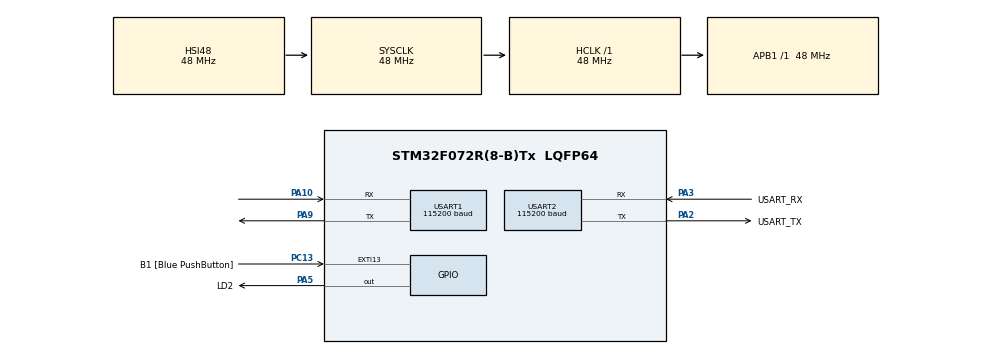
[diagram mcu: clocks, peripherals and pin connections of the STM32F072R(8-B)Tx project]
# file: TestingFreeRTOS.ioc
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FREERTOS.Tasks01=task_1,24,128,task_1_function,Default,NULL,Dynamic,NULL,NULL;task_2,17,128,task_2_function,Default,NULL,Dynamic,NULL,NULL;task_3,17,128,task_3_function,Default,NULL,Dynamic,NULL,NULL
Mcu.Family=STM32F0
Mcu.Name=STM32F072R(8-B)Tx
Mcu.Package=LQFP64
NVIC.TIM6_DAC_IRQn=true\:3\:0\:false\:false\:true\:false\:false\:true\:true
NVIC.TimeBase=TIM6_DAC_IRQn
NVIC.TimeBaseIP=TIM6
NVIC.USART1_IRQn=true\:3\:0\:false\:false\:true\:true\:true\:true\:true
NVIC.USART2_IRQn=true\:3\:0\:false\:false\:true\:true\:true\:true\:true
PA10.Mode=Asynchronous
PA10.Signal=USART1_RX
PA13.GPIO_Label=TMS
PA13.Mode=Serial_Wire
PA13.Signal=SYS_SWDIO
PA14.GPIO_Label=TCK
PA14.Mode=Serial_Wire
PA14.Signal=SYS_SWCLK
PA2.GPIO_Label=USART_TX
PA2.GPIO_Mode=GPIO_MODE_AF_PP
PA2.GPIO_PuPd=GPIO_NOPULL
PA2.GPIO_Speed=GPIO_SPEED_FREQ_LOW
PA2.Mode=Asynchronous
PA2.Signal=USART2_TX
PA3.GPIO_Label=USART_RX
PA3.GPIO_Mode=GPIO_MODE_AF_PP
PA3.GPIO_PuPd=GPIO_NOPULL
PA3.GPIO_Speed=GPIO_SPEED_FREQ_LOW
PA3.Mode=Asynchronous
PA3.Signal=USART2_RX
PA5.GPIO_Label=LD2
PA5.Signal=GPIO_Output
PA9.Mode=Asynchronous
PA9.Signal=USART1_TX
PC13.GPIO_Label=B1 [Blue PushButton]
PC13.GPIO_ModeDefaultEXTI=GPIO_MODE_IT_FALLING
PC13.Signal=GPXTI13
ProjectManager.HeapSize=0x200
ProjectManager.StackSize=0x400
ProjectManager.TargetToolchain=STM32CubeIDE
RCC.AHBFreq_Value=48000000
RCC.APB1Freq_Value=48000000
RCC.APB1TimFreq_Value=48000000
RCC.FLatency-AdvancedSettings=FLASH_LATENCY_1
RCC.HCLKFreq_Value=48000000
RCC.PLLDivider=RCC_PREDIV_DIV2
RCC.PLLMUL=RCC_PLL_MUL12
RCC.PREFETCH_ENABLE-AdvancedSettings=1
RCC.SYSCLKFreq_VALUE=48000000
RCC.SYSCLKSource=RCC_SYSCLKSOURCE_HSI48
USART1.BaudRate=115200
USART1.VirtualMode-Asynchronous=VM_ASYNC
USART2.BaudRate=115200
USART2.VirtualMode=VM_ASYNC
USART2.VirtualMode-Asynchronous=VM_ASYNC
VP_FREERTOS_VS_CMSIS_V2.Mode=CMSIS_V2
VP_SYS_VS_tim6.Mode=TIM6
board=NUCLEO-F072RB

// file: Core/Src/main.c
/* USER CODE BEGIN Header */
/**
  ******************************************************************************
  * @file           : main.c
  * @brief          : Main program body
  ******************************************************************************
  * @attention
  *
  * Copyright (c) 2024 STMicroelectronics.
  * All rights reserved.
  *
  * This software is licensed under terms that can be found in the LICENSE file
  * in the root directory of this software component.
  * If no LICENSE file comes with this software, it is provided AS-IS.
  *
  ******************************************************************************
  */
/* USER CODE END Header */
#include "main.h"
#include "cmsis_os.h"
#include <stdbool.h>
#include <string.h>
#include <my_ringbuffer.h>

/* USER CODE BEGIN PM */

#define START_DELIMITER 0x02  // Beispiel: STX
#define END_DELIMITER 0x03    // Beispiel: ETX

/* USER CODE END PM */

UART_HandleTypeDef huart1;
UART_HandleTypeDef huart2;

/* Definitions for task_1 */
osThreadId_t task_1Handle;
const osThreadAttr_t task_1_attributes = {
  .name = "task_1",
  .stack_size = 128 * 4,
  .priority = (osPriority_t) osPriorityNormal,
};
/* Definitions for task_2 */
osThreadId_t task_2Handle;
const osThreadAttr_t task_2_attributes = {
  .name = "task_2",
  .stack_size = 128 * 4,
  .priority = (osPriority_t) osPriorityBelowNormal1,
};
/* Definitions for task_3 */
osThreadId_t task_3Handle;
const osThreadAttr_t task_3_attributes = {
  .name = "task_3",
  .stack_size = 128 * 4,
  .priority = (osPriority_t) osPriorityBelowNormal1,
};
/* USER CODE BEGIN PV */

uint8_t rx_byte=0;
uint8_t rx_buffer[2000]={0};
uint8_t rx_buffer_size=0;
uint32_t rxCount=0;
bool receiving = false;

uint8_t rxByte2=0;
ring_buffer uart2Buffer;

/* USER CODE END PV */

void SystemClock_Config(void);
static void MX_GPIO_Init(void);
static void MX_USART2_UART_Init(void);
static void MX_USART1_UART_Init(void);
void task_1_function(void *argument);
void task_2_function(void *argument);
void task_3_function(void *argument);

int main(void)
{

  /* MCU Configuration--------------------------------------------------------*/

  /* Reset of all peripherals, Initializes the Flash interface and the Systick. */
  HAL_Init();

  /* Configure the system clock */
  SystemClock_Config();

  /* Initialize all configured peripherals */
  MX_GPIO_Init();
  MX_USART2_UART_Init();
  MX_USART1_UART_Init();
  /* USER CODE BEGIN 2 */

  /////HAL_UART_Receive_IT(&huart1, &rx_byte, 1);

  my_ringbuffer_init(&uart2Buffer);
  HAL_UART_Receive_IT(&huart2, &rxByte2, 1);

  /* USER CODE END 2 */

  /* Init scheduler */
  osKernelInitialize();

  /* Create the thread(s) */
  /* creation of task_1 */
  task_1Handle = osThreadNew(task_1_function, NULL, &task_1_attributes);

  /* creation of task_2 */
  task_2Handle = osThreadNew(task_2_function, NULL, &task_2_attributes);

  /* creation of task_3 */
  task_3Handle = osThreadNew(task_3_function, NULL, &task_3_attributes);

  /* Start scheduler */
  osKernelStart();

  /* We should never get here as control is now taken by the scheduler */

  /* Infinite loop */
  while (1)
  {

  }
}

void SystemClock_Config(void)
{
  RCC_OscInitTypeDef RCC_OscInitStruct = {0};
  RCC_ClkInitTypeDef RCC_ClkInitStruct = {0};
  RCC_PeriphCLKInitTypeDef PeriphClkInit = {0};

  /** Initializes the RCC Oscillators according to the specified parameters
  * in the RCC_OscInitTypeDef structure.
  */
  RCC_OscInitStruct.OscillatorType = RCC_OSCILLATORTYPE_HSI48;
  RCC_OscInitStruct.HSI48State = RCC_HSI48_ON;
  RCC_OscInitStruct.PLL.PLLState = RCC_PLL_NONE;
  if (HAL_RCC_OscConfig(&RCC_OscInitStruct) != HAL_OK)
  {
    Error_Handler();
  }

  /** Initializes the CPU, AHB and APB buses clocks
  */
  RCC_ClkInitStruct.ClockType = RCC_CLOCKTYPE_HCLK|RCC_CLOCKTYPE_SYSCLK
                              |RCC_CLOCKTYPE_PCLK1;
  RCC_ClkInitStruct.SYSCLKSource = RCC_SYSCLKSOURCE_HSI48;
  RCC_ClkInitStruct.AHBCLKDivider = RCC_SYSCLK_DIV1;
  RCC_ClkInitStruct.APB1CLKDivider = RCC_HCLK_DIV1;

  if (HAL_RCC_ClockConfig(&RCC_ClkInitStruct, FLASH_LATENCY_1) != HAL_OK)
  {
    Error_Handler();
  }
  PeriphClkInit.PeriphClockSelection = RCC_PERIPHCLK_USART1|RCC_PERIPHCLK_USART2;
  PeriphClkInit.Usart1ClockSelection = RCC_USART1CLKSOURCE_PCLK1;
  PeriphClkInit.Usart2ClockSelection = RCC_USART2CLKSOURCE_PCLK1;
  if (HAL_RCCEx_PeriphCLKConfig(&PeriphClkInit) != HAL_OK)
  {
    Error_Handler();
  }
}

static void MX_USART1_UART_Init(void)
{

  huart1.Instance = USART1;
  huart1.Init.BaudRate = 115200;
  huart1.Init.WordLength = UART_WORDLENGTH_8B;
  huart1.Init.StopBits = UART_STOPBITS_1;
  huart1.Init.Parity = UART_PARITY_NONE;
  huart1.Init.Mode = UART_MODE_TX_RX;
  huart1.Init.HwFlowCtl = UART_HWCONTROL_NONE;
  huart1.Init.OverSampling = UART_OVERSAMPLING_16;
  huart1.Init.OneBitSampling = UART_ONE_BIT_SAMPLE_DISABLE;
  huart1.AdvancedInit.AdvFeatureInit = UART_ADVFEATURE_NO_INIT;
  if (HAL_UART_Init(&huart1) != HAL_OK)
  {
    Error_Handler();
  }

}

static void MX_USART2_UART_Init(void)
{

  huart2.Instance = USART2;
  huart2.Init.BaudRate = 115200;
  huart2.Init.WordLength = UART_WORDLENGTH_8B;
  huart2.Init.StopBits = UART_STOPBITS_1;
  huart2.Init.Parity = UART_PARITY_NONE;
  huart2.Init.Mode = UART_MODE_TX_RX;
  huart2.Init.HwFlowCtl = UART_HWCONTROL_NONE;
  huart2.Init.OverSampling = UART_OVERSAMPLING_16;
  huart2.Init.OneBitSampling = UART_ONE_BIT_SAMPLE_DISABLE;
  huart2.AdvancedInit.AdvFeatureInit = UART_ADVFEATURE_NO_INIT;
  if (HAL_UART_Init(&huart2) != HAL_OK)
  {
    Error_Handler();
  }

}

static void MX_GPIO_Init(void)
{
  GPIO_InitTypeDef GPIO_InitStruct = {0};

  /* GPIO Ports Clock Enable */
  __HAL_RCC_GPIOC_CLK_ENABLE();
  __HAL_RCC_GPIOA_CLK_ENABLE();

  /*Configure GPIO pin Output Level */
  HAL_GPIO_WritePin(LD2_GPIO_Port, LD2_Pin, GPIO_PIN_RESET);

  /*Configure GPIO pin : B1_Pin */
  GPIO_InitStruct.Pin = B1_Pin;
  GPIO_InitStruct.Mode = GPIO_MODE_IT_FALLING;
  GPIO_InitStruct.Pull = GPIO_NOPULL;
  HAL_GPIO_Init(B1_GPIO_Port, &GPIO_InitStruct);

  /*Configure GPIO pin : LD2_Pin */
  GPIO_InitStruct.Pin = LD2_Pin;
  GPIO_InitStruct.Mode = GPIO_MODE_OUTPUT_PP;
  GPIO_InitStruct.Pull = GPIO_NOPULL;
  GPIO_InitStruct.Speed = GPIO_SPEED_FREQ_LOW;
  HAL_GPIO_Init(LD2_GPIO_Port, &GPIO_InitStruct);

}

/* USER CODE BEGIN 4 */

void HAL_UART_RxCpltCallback(UART_HandleTypeDef *huart)
{
  #define MIN(a, b) ((a) < (b) ? (a) : (b))

	static uint8_t rxBuffer[100];
	static uint16_t index = 0;

  /* Prevent unused argument(s) compilation warning */
  UNUSED(huart);

  if (huart->Instance == USART1)
  {
    if (rx_byte == START_DELIMITER) {
      receiving = true;  // Beginne mit dem Empfang
      index = 0;
    }

    if (receiving)
    {
      rxBuffer[index++] = rx_byte;

      if (rx_byte == END_DELIMITER)
      {

        memcpy(&rx_buffer, &rxBuffer[1], MIN((index-2), sizeof(rxBuffer)));
        rx_buffer_size=MIN((index-2), sizeof(rxBuffer));

        receiving = false;
        index = 0;  // Puffer zurücksetzen
      }
    }

  	HAL_UART_Receive_IT(&huart1, &rx_byte, 1);
  }

  if (huart->Instance == USART2)
  {
    my_ringbuffer_add_byte(&uart2Buffer, rxByte2);

    HAL_UART_Receive_IT(&huart2, &rxByte2, 1);
  }
}

/* USER CODE END 4 */

void task_1_function(void *argument)
{
  /* USER CODE BEGIN 5 */
  /* Infinite loop */
  while (1)
  {
    HAL_GPIO_TogglePin(GPIOA, GPIO_PIN_5);  // LED toggeln
    osDelay(1000);
  }
  /* USER CODE END 5 */
}

void task_2_function(void *argument)
{
  /* USER CODE BEGIN task_2_function */
  /* Infinite loop */
  while (1)
  {
    osDelay(100);
  }
  /* USER CODE END task_2_function */
}

void task_3_function(void *argument)
{
  uint8_t send_buffer[RING_BUFFER_LENGTH]={0};

  uint16_t read_size = 0;

  /* USER CODE BEGIN task_3_function */
  /* Infinite loop */
  while(1)
  {
    read_size = my_ringbuffer_read(&uart2Buffer, send_buffer);

	  if (read_size>0)
	  {
		  HAL_UART_Transmit(&huart2, send_buffer, read_size, 50);
	  }
	  osDelay(10);

  }
  /* USER CODE END task_3_function */
}

void HAL_TIM_PeriodElapsedCallback(TIM_HandleTypeDef *htim)
{
  if (htim->Instance == TIM6) {
    HAL_IncTick();
  }
}

void Error_Handler(void)
{
  __disable_irq();
  while (1)
  {
  }
}
